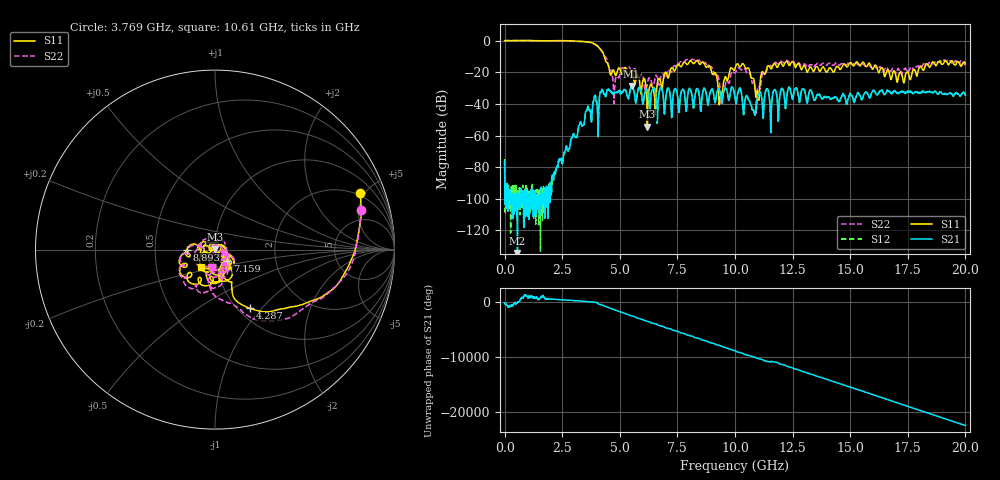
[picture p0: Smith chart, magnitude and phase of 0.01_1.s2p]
#  HZ  S  RI  R  50.00
! Rohde & Schwarz Vector Network Analyzer
! Rohde-Schwarz,ZNB20-2Port,1311601062102128,3.60
! Created: UTC 4/29/2024, 2:51:04 PM
! freq[Hz]  re:S11  im:S11  re:S21  im:S21  re:S12  im:S12  re:S22  im:S22
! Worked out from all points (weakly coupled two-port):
!   2007 points, 100 kHz to 20 GHz, reference 50 ohm
!   highest |S21| = -28.71 dB at 5.514 GHz (marker M1); lowest = -134.2 dB at 558.4 MHz (marker M2)
!   lowest |S11| = -54.3 dB at 6.191 GHz (marker M3), VSWR 1.00, Z = 50.1 + j0.184 ohm
!   |S11| at or under -10 dB: 4.328 GHz to end of sweep
!   |S22| runs from -45.9 to 0.1 dB; largest |S21 - S12| = 0.002
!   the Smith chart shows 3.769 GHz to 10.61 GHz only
!   S11 on the Smith chart (normalised r, x): 3.769 GHz: 1.80, +4.59; 4.287 GHz: 1.13, -0.86; 7.159 GHz: 1.14, -0.14; 8.893 GHz: 0.73, -0.00; 10.61 GHz: 0.84, -0.17
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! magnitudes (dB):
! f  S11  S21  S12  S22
! 100 kHz  0.0  -76.4  -74.9  0.1
! 558.4 MHz  0.0  -134.2  -103.1  0.0
! 2.213 GHz  -0.1  -82.6  -84.1  -0.3
! 3.34 GHz  -0.6  -53.6  -53.3  -0.6
! 3.769 GHz  -1.2  -51.5  -51.7  -1.5
! 4.287 GHz  -8.4  -32.6  -32.7  -8.7
! 4.776 GHz  -20.4  -32.7  -32.7  -29.9
! 5.514 GHz  -18.9  -28.7  -28.7  -20.1
! 6.191 GHz  -54.3  -32.0  -32.1  -28.3
! 6.67 GHz  -24.4  -37.4  -37.4  -25.9
! 7.159 GHz  -20.8  -32.2  -32.2  -19.2
! 7.916 GHz  -15.1  -39.3  -39.3  -12.0
! 8.893 GHz  -16.0  -34.3  -34.3  -16.6
! 9.372 GHz  -35.0  -34.2  -34.3  -33.9
! 10 GHz  -17.5  -35.7  -35.6  -20.5
! 10.61 GHz  -18.0  -37.8  -37.8  -20.0
! 10.82 GHz  -24.6  -44.6  -44.5  -26.1
! 10.97 GHz  -31.5  -37.3  -37.3  -31.6
! 11.46 GHz  -15.9  -32.6  -32.7  -16.2
! 13.34 GHz  -18.0  -32.6  -32.6  -15.3
! 16.67 GHz  -19.1  -31.8  -31.8  -20.5
! 20 GHz  -14.7  -34.5  -34.5  -14.3
